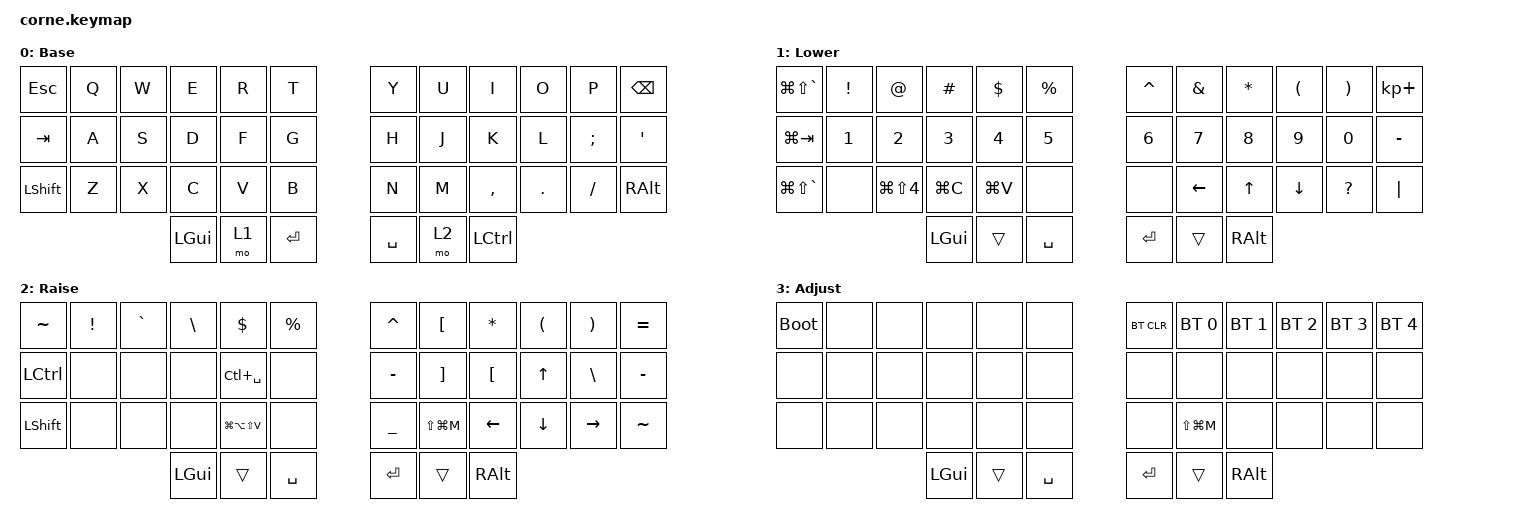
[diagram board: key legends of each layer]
/*
 * Corne keymap translated 1:1 from the VIA backup (captured 2026-10-20).
 * Layers: Base, Lower (mo 1), Raise (mo 2), Adjust (Lower + Raise held).
 * Known quirk kept on purpose: inner thumbs on layers 1-3 are Space/Enter
 * (stock order) while Base has Enter/Space. Change those six keys to &trans
 * if you want Enter/Space to match the base layer.
 */
#include <behaviors.dtsi>
#include <dt-bindings/zmk/keys.h>
#include <dt-bindings/zmk/bt.h>

/ {
    conditional_layers {
        compatible = "zmk,conditional-layers";
        tri_layer {
            if-layers = <1 2>;
            then-layer = <3>;
        };
    };

    keymap {
        compatible = "zmk,keymap";

        base_layer {
            display-name = "Base";
            bindings = <
&kp ESC   &kp Q &kp W &kp E &kp R &kp T   &kp Y &kp U &kp I     &kp O   &kp P    &kp BSPC
&kp TAB   &kp A &kp S &kp D &kp F &kp G   &kp H &kp J &kp K     &kp L   &kp SEMI &kp SQT
&kp LSHFT &kp Z &kp X &kp C &kp V &kp B   &kp N &kp M &kp COMMA &kp DOT &kp FSLH &kp RALT
                  &kp LGUI &mo 1 &kp RET   &kp SPACE &mo 2 &kp LCTRL
            >;
        };

        lower_layer {
            display-name = "Lower";
            bindings = <
&kp LG(LS(GRAVE)) &kp EXCL &kp AT         &kp HASH  &kp DLLR  &kp PRCNT   &kp CARET &kp AMPS &kp STAR &kp LPAR &kp RPAR  &kp KP_PLUS
&kp LG(TAB)       &kp N1   &kp N2         &kp N3    &kp N4    &kp N5      &kp N6    &kp N7   &kp N8   &kp N9   &kp N0    &kp MINUS
&kp LG(LS(GRAVE)) &none    &kp LG(LS(N4)) &kp LG(C) &kp LG(V) &none       &none     &kp LEFT &kp UP   &kp DOWN &kp QMARK &kp PIPE
                          &kp LGUI &trans &kp SPACE   &kp RET &trans &kp RALT
            >;
        };

        raise_layer {
            display-name = "Raise";
            bindings = <
&kp TILDE &kp EXCL &kp GRAVE &kp BSLH &kp DLLR          &kp PRCNT   &kp CARET &kp LBKT      &kp STAR &kp LPAR &kp RPAR  &kp EQUAL
&kp LCTRL &none    &none     &none    &kp LC(SPACE)     &none       &kp MINUS &kp RBKT      &kp LBKT &kp UP   &kp BSLH  &kp MINUS
&kp LSHFT &none    &none     &none    &kp LG(LA(LS(V))) &none       &kp UNDER &kp LS(LG(M)) &kp LEFT &kp DOWN &kp RIGHT &kp TILDE
                          &kp LGUI &trans &kp SPACE   &kp RET &trans &kp RALT
            >;
        };

        adjust_layer {
            display-name = "Adjust";
            bindings = <
&bootloader &none &none &none &none &none   &bt BT_CLR &bt BT_SEL 0  &bt BT_SEL 1 &bt BT_SEL 2 &bt BT_SEL 3 &bt BT_SEL 4
&none       &none &none &none &none &none   &none      &none         &none        &none        &none        &none
&none       &none &none &none &none &none   &none      &kp LS(LG(M)) &none        &none        &none        &none
                          &kp LGUI &trans &kp SPACE   &kp RET &trans &kp RALT
            >;
        };
    };
};
